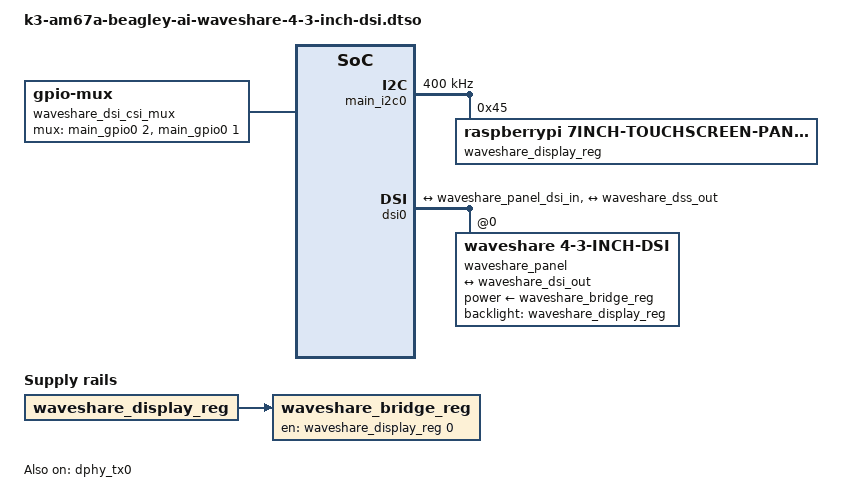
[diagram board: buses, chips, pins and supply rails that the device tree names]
// SPDX-License-Identifier: GPL-2.0-only OR MIT
/*
 * Waveshare 4.3-inch 800x480 DSI display on the BeagleY-AI CSI1/DSI0
 * connector.  Selecting DSI0 makes the muxed CSI1 interface unavailable.
 */

/dts-v1/;
/plugin/;

#include <dt-bindings/gpio/gpio.h>
#include "k3-pinctrl.h"

&{/} {
	waveshare_dsi_csi_mux: mux-controller {
		compatible = "gpio-mux";
		#mux-state-cells = <1>;
		pinctrl-names = "default";
		pinctrl-0 = <&waveshare_dsi_csi_mux_pins>;

		mux-gpios = <&main_gpio0 2 GPIO_ACTIVE_HIGH>,
			    <&main_gpio0 1 GPIO_ACTIVE_HIGH>;

		/* state = SEL + 2 * OE: 0 = DSI0, 1 = CSI1, 2/3 = off */
		idle-state = <0>;
	};

	waveshare_bridge_reg: regulator-waveshare-bridge {
		compatible = "regulator-fixed";
		regulator-name = "waveshare-dsi-bridge";
		gpio = <&waveshare_display_reg 0 GPIO_ACTIVE_HIGH>;
		vin-supply = <&waveshare_display_reg>;
		enable-active-high;
	};
};

&main_pmx0 {
	waveshare_dsi_csi_mux_pins: waveshare-dsi-csi-mux-pins {
		pinctrl-single,pins = <
			J722S_IOPAD(0x0004, PIN_OUTPUT, 7) /* GPIO0_1: mux select */
			J722S_IOPAD(0x0008, PIN_OUTPUT, 7) /* GPIO0_2: mux OE_n */
		>;
	};

	waveshare_dsi_i2c_pins: waveshare-dsi-i2c-pins {
		pinctrl-single,pins = <
			J722S_IOPAD(0x01e0, PIN_INPUT_PULLUP, 0) /* I2C0_SCL */
			J722S_IOPAD(0x01e4, PIN_INPUT_PULLUP, 0) /* I2C0_SDA */
		>;
	};
};

&main_i2c0 {
	pinctrl-names = "default";
	pinctrl-0 = <&waveshare_dsi_i2c_pins>;
	clock-frequency = <400000>;
	#address-cells = <1>;
	#size-cells = <0>;
	status = "okay";

	waveshare_display_reg: regulator@45 {
		compatible = "raspberrypi,7inch-touchscreen-panel-regulator";
		reg = <0x45>;
		gpio-controller;
		#gpio-cells = <2>;
	};
};

&dphy_tx0 {
	status = "okay";
};

&dsi0 {
	status = "okay";
	#address-cells = <1>;
	#size-cells = <0>;

	waveshare_panel: panel@0 {
		compatible = "waveshare,4-3-inch-dsi";
		reg = <0>;
		power-supply = <&waveshare_bridge_reg>;
		backlight = <&waveshare_display_reg>;

		port {
			waveshare_panel_dsi_in: endpoint {
				data-lanes = <1>;
				remote-endpoint = <&waveshare_dsi_out>;
			};
		};

		panel-timing {
			clock-frequency = <27777000>;
			hactive = <800>;
			vactive = <480>;
			hfront-porch = <59>;
			hsync-len = <2>;
			hback-porch = <45>;
			vfront-porch = <7>;
			vsync-len = <2>;
			vback-porch = <22>;
		};
	};

	ports {
		#address-cells = <1>;
		#size-cells = <0>;

		port@0 {
			reg = <0>;

			waveshare_dsi_out: endpoint {
				remote-endpoint = <&waveshare_panel_dsi_in>;
			};
		};

		port@1 {
			reg = <1>;

			waveshare_dsi_in: endpoint {
				remote-endpoint = <&waveshare_dss_out>;
			};
		};
	};
};

&dss1_ports {
	#address-cells = <1>;
	#size-cells = <0>;

	port@1 {
		reg = <1>;

		waveshare_dss_out: endpoint {
			remote-endpoint = <&waveshare_dsi_in>;
		};
	};
};
